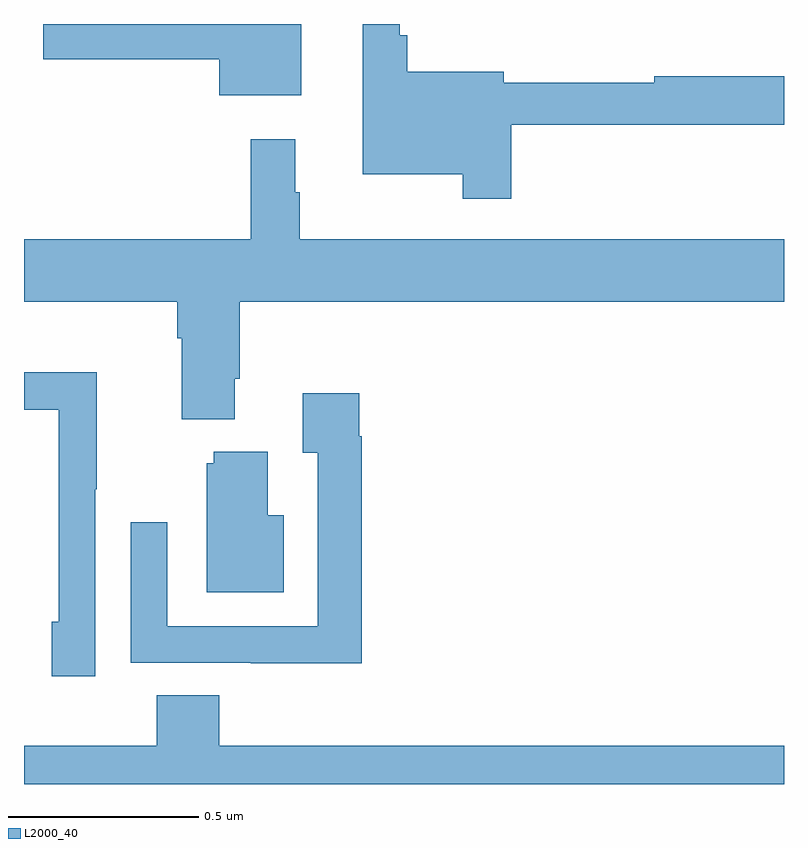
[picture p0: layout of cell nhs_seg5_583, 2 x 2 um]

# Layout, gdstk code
import gdstk
lib = gdstk.Library(unit=1e-6, precision=1e-09)
def P(c, l, *ps):  # polygons
    for p in ps: c.add(gdstk.Polygon(p, *l))
L2000_40 = (2000, 40)

nhs_seg5_583 = lib.new_cell('nhs_seg5_583')
P(nhs_seg5_583, L2000_40, [(118.729,882.799),(118.05,882.799),(118.05,882.706),(118.514,882.706),(118.514,882.611),(118.729,882.611)],
  [(119.282,882.534),(120,882.534),(120,882.662),(119.659,882.662),(119.659,882.644),(119.263,882.644),(119.263,882.673),(119.009,882.673),(119.009,882.769),(118.989,882.769),(118.989,882.799),(118.892,882.799),(118.892,882.404),(119.154,882.404),(119.154,882.339),(119.282,882.339)],
  [(118.555,881.866),(118.568,881.866),(118.568,882.068),(120,882.068),(120,882.232),(118.726,882.232),(118.726,882.356),(118.714,882.356),(118.714,882.496),(118.597,882.496),(118.597,882.232),(118,882.232),(118,882.068),(118.403,882.068),(118.403,881.972),(118.415,881.972),(118.415,881.759),(118.555,881.759)],
  [(118.188,881.575),(118.191,881.575),(118.191,881.882),(118,881.882),(118,881.784),(118.092,881.784),(118.092,881.226),(118.073,881.226),(118.073,881.082),(118.188,881.082)],
  [(118.889,881.714),(118.882,881.714),(118.882,881.827),(118.733,881.827),(118.733,881.671),(118.773,881.671),(118.773,881.214),(118.377,881.214),(118.377,881.488),(118.281,881.488),(118.281,881.118),(118.597,881.118),(118.597,881.117),(118.889,881.117)],
  [(118.684,881.506),(118.642,881.506),(118.642,881.674),(118.499,881.674),(118.499,881.643),(118.481,881.643),(118.481,881.303),(118.684,881.303)],
  [(120,880.9),(118.514,880.9),(118.514,881.033),(118.349,881.033),(118.349,880.9),(118,880.9),(118,880.799),(120,880.799)])

lib.write_gds('nhs_seg5_583.gds')
